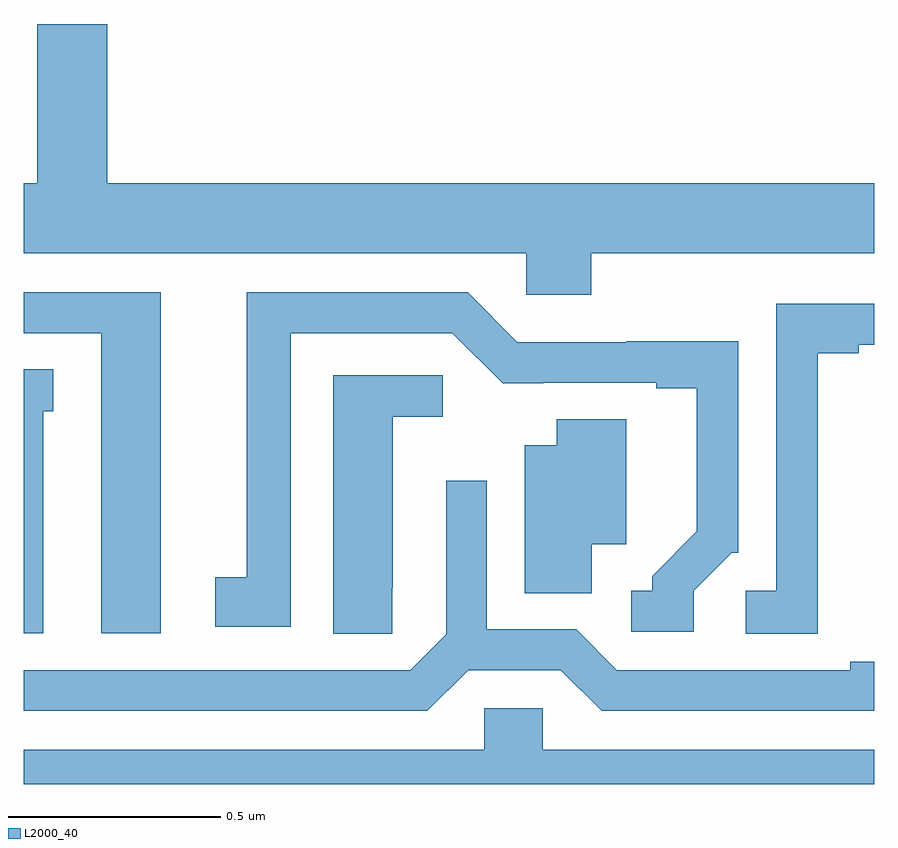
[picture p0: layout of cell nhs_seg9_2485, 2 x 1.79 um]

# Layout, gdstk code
import gdstk
lib = gdstk.Library(unit=1e-6, precision=1e-09)
def P(c, l, *ps):  # polygons
    for p in ps: c.add(gdstk.Polygon(p, *l))
L2000_40 = (2000, 40)

nhs_seg9_2485 = lib.new_cell('nhs_seg9_2485')
P(nhs_seg9_2485, L2000_40, [(142.334,1201.748),(143,1201.748),(143,1201.912),(141.196,1201.912),(141.196,1202.287),(141.032,1202.287),(141.032,1201.912),(141,1201.912),(141,1201.748),(142.182,1201.748),(142.182,1201.65),(142.334,1201.65)],
  [(142.575,1200.954),(142.665,1201.044),(142.68,1201.044),(142.68,1201.541),(142.417,1201.541),(142.417,1201.539),(142.161,1201.539),(142.044,1201.656),(141.524,1201.656),(141.524,1200.986),(141.45,1200.986),(141.45,1200.87),(141.628,1200.87),(141.628,1201.56),(142.008,1201.56),(142.126,1201.442),(142.222,1201.442),(142.222,1201.443),(142.487,1201.443),(142.487,1201.431),(142.583,1201.431),(142.583,1201.094),(142.478,1200.989),(142.478,1200.954),(142.428,1200.954),(142.428,1200.858),(142.575,1200.858)],
  [(141.322,1201.656),(141,1201.656),(141,1201.56),(141.182,1201.56),(141.182,1200.855),(141.322,1200.855)],
  [(142.867,1201.513),(142.963,1201.513),(142.963,1201.533),(143,1201.533),(143,1201.629),(142.77,1201.629),(142.77,1200.954),(142.698,1200.954),(142.698,1200.853),(142.867,1200.853)],
  [(141.046,1201.377),(141.07,1201.377),(141.07,1201.475),(141,1201.475),(141,1200.855),(141.046,1200.855)],
  [(141.867,1200.961),(141.868,1200.961),(141.868,1201.364),(141.985,1201.364),(141.985,1201.461),(141.728,1201.461),(141.728,1200.853),(141.867,1200.853)],
  [(142.336,1201.064),(142.417,1201.064),(142.417,1201.358),(142.253,1201.358),(142.253,1201.297),(142.178,1201.297),(142.178,1200.949),(142.336,1200.949)],
  [(142.045,1200.768),(142.263,1200.768),(142.359,1200.672),(143,1200.672),(143,1200.788),(142.943,1200.788),(142.943,1200.768),(142.395,1200.768),(142.299,1200.864),(142.089,1200.864),(142.089,1201.213),(141.993,1201.213),(141.993,1200.852),(141.909,1200.768),(141,1200.768),(141,1200.672),(141.949,1200.672)],
  [(143,1200.58),(142.221,1200.58),(142.221,1200.678),(142.083,1200.678),(142.083,1200.58),(141,1200.58),(141,1200.5),(143,1200.5)])

lib.write_gds('nhs_seg9_2485.gds')
